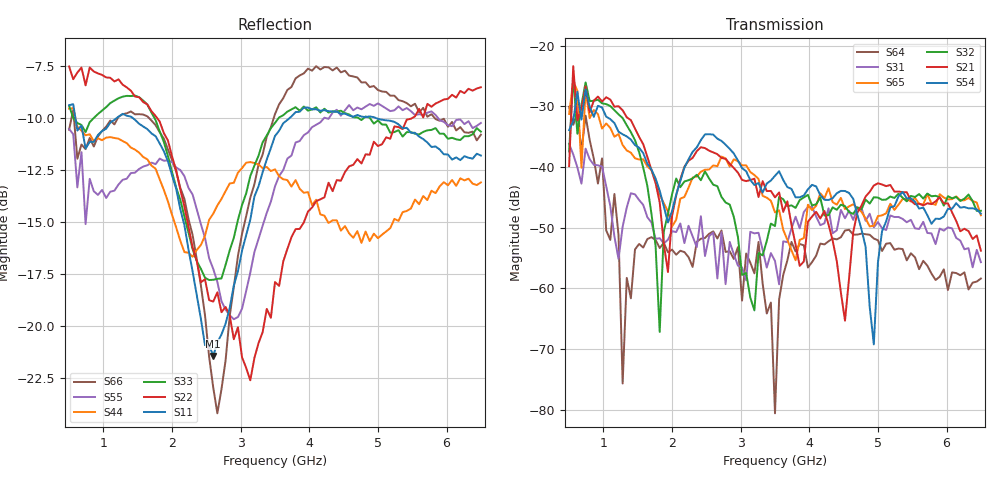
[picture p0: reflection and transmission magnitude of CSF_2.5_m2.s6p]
!Keysight Technologies,M9804A,MY58100912,A.14.10.03
!Date: Thursday, April 27, 2023 10:28:33
!Correction: S11(C  6-Port  )
!S12(C  6-Port  )
!S13(C  6-Port  )
!S14(C  6-Port  )
!S15(C  6-Port  )
!S16(C  6-Port  )
!S21(C  6-Port  )
!S22(C  6-Port  )
!S23(C  6-Port  )
!S24(C  6-Port  )
!S25(C  6-Port  )
!S26(C  6-Port  )
!S31(C  6-Port  )
!S32(C  6-Port  )
!S33(C  6-Port  )
!S34(C  6-Port  )
!S35(C  6-Port  )
!S36(C  6-Port  )
!S41(C  6-Port  )
!S42(C  6-Port  )
!S43(C  6-Port  )
!S44(C  6-Port  )
!S45(C  6-Port  )
!S46(C  6-Port  )
!S51(C  6-Port  )
!S52(C  6-Port  )
!S53(C  6-Port  )
!S54(C  6-Port  )
!S55(C  6-Port  )
!S56(C  6-Port  )
!S61(C  6-Port  )
!S62(C  6-Port  )
!S63(C  6-Port  )
!S64(C  6-Port  )
!S65(C  6-Port  )
!S66(C  6-Port  )
!S6P File: Measurement: :
# Hz S  RI  R 50
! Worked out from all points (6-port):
!   101 points, 500 MHz to 6.5 GHz, reference 50 ohm
!   strongest paths, dB at 500 MHz, 2 GHz, 3.5 GHz, 5 GHz, 6.5 GHz:
!     S54: -33.9, -47.3, -41.5, -55.7, -47.7
!     S21: -39.9, -48.1, -45.0, -42.7, -53.8
!     S32: -37.4, -44.5, -49.8, -45.1, -47.2
!     S65: -31.3, -49.8, -47.5, -48.1, -48.0
!     S31: -36.2, -50.6, -55.5, -49.1, -55.7
!     S64: -30.1, -53.6, -80.6, -52.1, -58.4
!   lowest |S11| = -21.5 dB at 2.6 GHz (marker M1), VSWR 1.18, Z = 42.5 + j2.15 ohm
!   |S11| at or under -10 dB: 591.6 MHz to 1.193 GHz (601.3 MHz wide, 67.4 % of centre); 1.428 GHz to 3.713 GHz (2.285 GHz wide, 88.9 % of centre); 4.971 GHz to end of sweep
